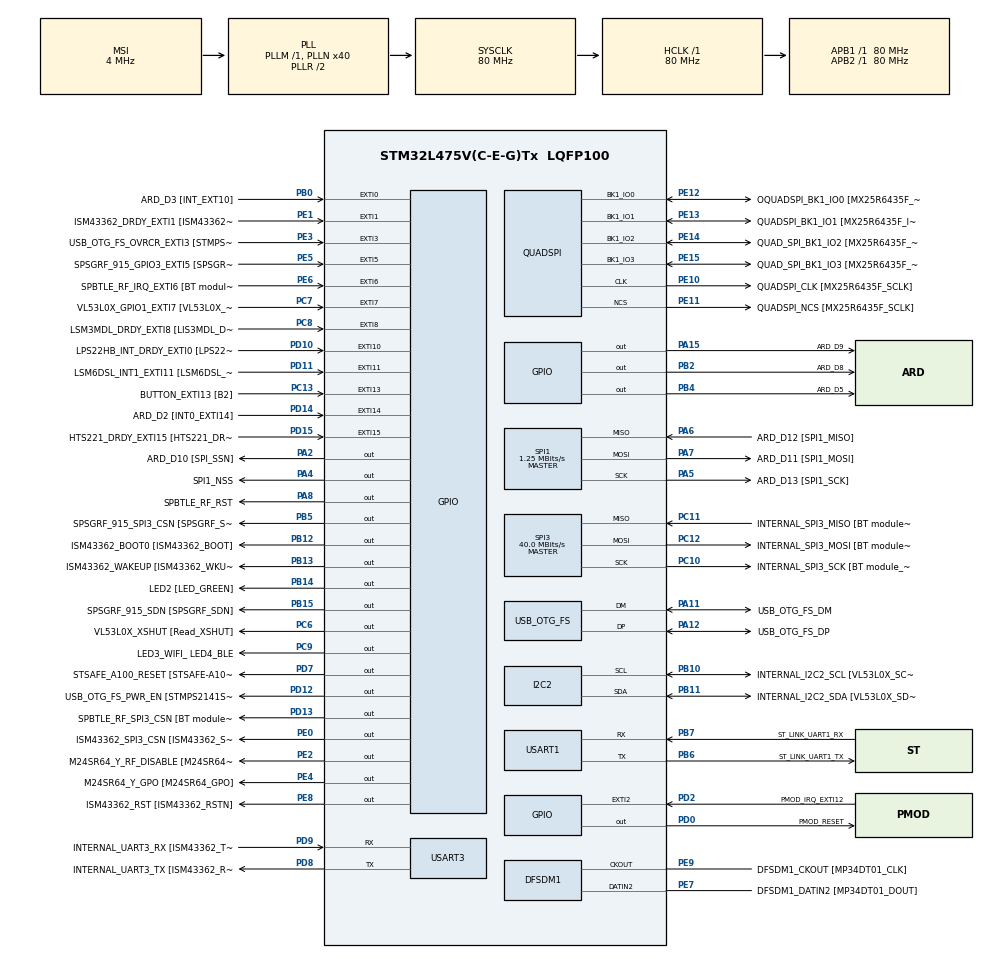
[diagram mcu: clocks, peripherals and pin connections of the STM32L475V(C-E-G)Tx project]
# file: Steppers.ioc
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Mcu.Family=STM32L4
Mcu.Name=STM32L475V(C-E-G)Tx
Mcu.Package=LQFP100
NVIC.EXTI15_10_IRQn=true\:0\:0\:false\:false\:true\:true\:true
NVIC.EXTI9_5_IRQn=true\:0\:0\:false\:false\:true\:true\:true
NVIC.PriorityGroup=NVIC_PRIORITYGROUP_4
PA0.GPIO_Label=ARD_D1 [UART4_TX]
PA0.Signal=UART4_TX
PA1.GPIO_Label=ARD_D0 [UART4_RX]
PA1.Signal=UART4_RX
PA10.GPIO_Label=USB_OTG_FS_ID
PA10.Signal=USB_OTG_FS_ID
PA11.GPIO_Label=USB_OTG_FS_DM
PA11.Mode=Device_Only
PA11.Signal=USB_OTG_FS_DM
PA12.GPIO_Label=USB_OTG_FS_DP
PA12.Mode=Device_Only
PA12.Signal=USB_OTG_FS_DP
PA13\ (JTMS-SWDIO).GPIO_Label=SYS_JTMS_SWDIO
PA13\ (JTMS-SWDIO).Mode=Serial_Wire
PA13\ (JTMS-SWDIO).Signal=SYS_JTMS-SWDIO
PA14\ (JTCK-SWCLK).GPIO_Label=SYS_JTCK_SWCLK
PA14\ (JTCK-SWCLK).Mode=Serial_Wire
PA14\ (JTCK-SWCLK).Signal=SYS_JTCK-SWCLK
PA15\ (JTDI).GPIO_Label=ARD_D9
PA15\ (JTDI).Signal=GPIO_Output
PA2.GPIO_Label=ARD_D10 [SPI_SSN]
PA2.Signal=GPIO_Output
PA3.GPIO_Label=ARD_D4
PA3.Signal=S_TIM2_CH4
PA4.GPIO_Label=SPI1_NSS
PA4.Signal=GPIO_Output
PA5.GPIO_Label=ARD_D13 [SPI1_SCK]
PA5.Mode=Full_Duplex_Master
PA5.Signal=SPI1_SCK
PA6.GPIO_Label=ARD_D12 [SPI1_MISO]
PA6.Mode=Full_Duplex_Master
PA6.Signal=SPI1_MISO
PA7.GPIO_Label=ARD_D11 [SPI1_MOSI]
PA7.Mode=Full_Duplex_Master
PA7.Signal=SPI1_MOSI
PA8.GPIO_Label=SPBTLE_RF_RST
PA8.Signal=GPIO_Output
PA9.GPIO_Label=USB_OTG_FS_VBUS [STMPS2141STR_OUT]
PA9.Signal=USB_OTG_FS_VBUS
PB0.GPIO_Label=ARD_D3 [INT_EXT10]
PB0.Signal=GPXTI0
PB1.GPIO_Label=ARD_D6 [ADC1_IN6]
PB1.Signal=ADCx_IN16
PB10.GPIO_Label=INTERNAL_I2C2_SCL [VL53L0X_SCL]
PB10.Mode=I2C
PB10.Signal=I2C2_SCL
PB11.GPIO_Label=INTERNAL_I2C2_SDA [VL53L0X_SDA]
PB11.Mode=I2C
PB11.Signal=I2C2_SDA
PB12.GPIO_Label=ISM43362_BOOT0 [ISM43362_BOOT]
PB12.Signal=GPIO_Output
PB13.GPIO_Label=ISM43362_WAKEUP [ISM43362_WKUP]
PB13.Signal=GPIO_Output
PB14.GPIO_Label=LED2 [LED_GREEN]
PB14.Signal=GPIO_Output
PB15.GPIO_Label=SPSGRF_915_SDN [SPSGRF_SDN]
PB15.Signal=GPIO_Output
PB2.GPIO_Label=ARD_D8
PB2.Signal=GPIO_Output
PB3\ (JTDO-TRACESWO).GPIO_Label=SYS_JTD0_SWO
PB3\ (JTDO-TRACESWO).Signal=SYS_JTDO-SWO
PB4\ (NJTRST).GPIO_Label=ARD_D5
PB4\ (NJTRST).Signal=GPIO_Output
PB5.GPIO_Label=SPSGRF_915_SPI3_CSN [SPSGRF_SPI_CS]
PB5.PinState=GPIO_PIN_SET
PB5.Signal=GPIO_Output
PB6.GPIO_Label=ST_LINK_UART1_TX
PB6.Mode=Asynchronous
PB6.Signal=USART1_TX
PB7.GPIO_Label=ST_LINK_UART1_RX
PB7.Mode=Asynchronous
PB7.Signal=USART1_RX
PB8.GPIO_Label=ARD_D15 [I2C1_SCL]
PB8.Signal=I2C1_SCL
PB9.GPIO_Label=ARD_D14 [I2C1_SDA]
PB9.Signal=I2C1_SDA
PC0.GPIO_Label=ARD_A5 [ADC]
PC0.Signal=ADCx_IN1
PC1.GPIO_Label=ARD_A4 [ADC]
PC1.Signal=ADCx_IN2
PC10.GPIO_Label=INTERNAL_SPI3_SCK [BT module_SPI_SCLK]
PC10.Mode=Full_Duplex_Master
PC10.Signal=SPI3_SCK
PC11.GPIO_Label=INTERNAL_SPI3_MISO [BT module_SPI_MISO]
PC11.Mode=Full_Duplex_Master
PC11.Signal=SPI3_MISO
PC12.GPIO_Label=INTERNAL_SPI3_MOSI [BT module_SPI_MOSI]
PC12.Mode=Full_Duplex_Master
PC12.Signal=SPI3_MOSI
PC13.GPIO_Label=BUTTON_EXTI13 [B2]
PC13.GPIO_ModeDefaultEXTI=GPIO_MODE_IT_FALLING
PC13.Signal=GPXTI13
PC14-OSC32_IN\ (PC14).Mode=LSE-External-Oscillator
PC14-OSC32_IN\ (PC14).Signal=RCC_OSC32_IN
PC15-OSC32_OUT\ (PC15).Mode=LSE-External-Oscillator
PC15-OSC32_OUT\ (PC15).Signal=RCC_OSC32_OUT
PC2.GPIO_Label=ARD_A3 [ADC]
PC2.Signal=ADCx_IN3
PC3.GPIO_Label=ARD_A2 [ADC]
PC3.Signal=ADCx_IN4
PC4.GPIO_Label=ARD_A1 [ADC]
PC4.Signal=ADCx_IN13
PC5.GPIO_Label=ARD_A0 [ADC]
PC5.Signal=ADCx_IN14
PC6.GPIO_Label=VL53L0X_XSHUT [Read_XSHUT]
PC6.Signal=GPIO_Output
PC7.GPIO_Label=VL53L0X_GPIO1_EXTI7 [VL53L0X_GPIO1]
PC7.Signal=GPXTI7
PC8.GPIO_Label=LSM3MDL_DRDY_EXTI8 [LIS3MDL_DRDY]
PC8.Signal=GPXTI8
PC9.GPIO_Label=LED3_WIFI_ LED4_BLE
PC9.Signal=GPIO_Output
PD0.GPIO_Label=PMOD_RESET
PD0.Signal=GPIO_Output
PD1.GPIO_Label=PMOD_SPI2_SCK
PD1.Signal=SPI2_SCK
PD10.GPIO_Label=LPS22HB_INT_DRDY_EXTI0 [LPS22HB_INT_DRDY] 
PD10.Signal=GPXTI10
PD11.GPIO_Label=LSM6DSL_INT1_EXTI11 [LSM6DSL_INT1]
PD11.Signal=GPXTI11
PD12.GPIO_Label=USB_OTG_FS_PWR_EN [STMPS2141STR_EN]
PD12.Signal=GPIO_Output
PD13.GPIO_Label=SPBTLE_RF_SPI3_CSN [BT module_SPI_CS]
PD13.PinState=GPIO_PIN_SET
PD13.Signal=GPIO_Output
PD14.GPIO_Label=ARD_D2 [INT0_EXTI14]
PD14.Signal=GPXTI14
PD15.GPIO_Label=HTS221_DRDY_EXTI15 [HTS221_DRDY]
PD15.Signal=GPXTI15
PD2.GPIO_Label=PMOD_IRQ_EXTI12
PD2.Signal=GPXTI2
PD3.GPIO_Label=PMOD_UART2_CTS
PD3.Signal=USART2_CTS
PD4.GPIO_Label=PMOD_UART2_RTS
PD4.Signal=USART2_RTS
PD5.GPIO_Label=PMOD_UART2_TX
PD5.Signal=USART2_TX
PD6.GPIO_Label=PMOD_UART2_RX
PD6.Signal=USART2_RX
PD7.GPIO_Label=STSAFE_A100_RESET [STSAFE-A100_RESET]
PD7.Signal=GPIO_Output
PD8.GPIO_Label=INTERNAL_UART3_TX [ISM43362_RX]
PD8.Mode=Asynchronous
PD8.Signal=USART3_TX
PD9.GPIO_Label=INTERNAL_UART3_RX [ISM43362_TX]
PD9.Mode=Asynchronous
PD9.Signal=USART3_RX
PE0.GPIO_Label=ISM43362_SPI3_CSN [ISM43362_SSN]
PE0.PinState=GPIO_PIN_SET
PE0.Signal=GPIO_Output
PE1.GPIO_Label=ISM43362_DRDY_EXTI1 [ISM43362_DATARDY]
PE1.Signal=GPXTI1
PE10.GPIO_Label=QUADSPI_CLK [MX25R6435F_SCLK]
PE10.Mode=Single Bank
PE10.Signal=QUADSPI_CLK
PE11.GPIO_Label=QUADSPI_NCS [MX25R6435F_SCLK]
PE11.Mode=Single Bank
PE11.Signal=QUADSPI_NCS
PE12.GPIO_Label=OQUADSPI_BK1_IO0 [MX25R6435F_IO0]
PE12.Mode=Single Bank
PE12.Signal=QUADSPI_BK1_IO0
PE13.GPIO_Label=QUADSPI_BK1_IO1 [MX25R6435F_IO1]
PE13.Mode=Single Bank
PE13.Signal=QUADSPI_BK1_IO1
PE14.GPIO_Label=QUAD_SPI_BK1_IO2 [MX25R6435F_IO2]
PE14.Mode=Single Bank
PE14.Signal=QUADSPI_BK1_IO2
PE15.GPIO_Label=QUAD_SPI_BK1_IO3 [MX25R6435F_IO3]
PE15.Mode=Single Bank
PE15.Signal=QUADSPI_BK1_IO3
PE2.GPIO_Label=M24SR64_Y_RF_DISABLE [M24SR64_RFDIS]
PE2.Signal=GPIO_Output
PE3.GPIO_Label=USB_OTG_FS_OVRCR_EXTI3 [STMPS2141STR_FAULT]
PE3.Signal=GPXTI3
PE4.GPIO_Label=M24SR64_Y_GPO [M24SR64_GPO]
PE4.Signal=GPIO_Output
PE5.GPIO_Label=SPSGRF_915_GPIO3_EXTI5 [SPSGRF_GPIO_3]
PE5.Signal=GPXTI5
PE6.GPIO_Label=SPBTLE_RF_IRQ_EXTI6 [BT module_SPI_IRQ]
PE6.Signal=GPXTI6
PE7.GPIO_Label=DFSDM1_DATIN2 [MP34DT01_DOUT]
PE7.Signal=S_DATAIN2DFSDM1
PE8.GPIO_Label=ISM43362_RST [ISM43362_RSTN]
PE8.Signal=GPIO_Output
PE9.GPIO_Label=DFSDM1_CKOUT [MP34DT01_CLK]
PE9.Signal=S_CKOUTDFSDM1
ProjectManager.HeapSize=0x200
ProjectManager.StackSize=0x400
ProjectManager.TargetToolchain=TrueSTUDIO
RCC.ADCFreq_Value=48000000
RCC.AHBFreq_Value=80000000
RCC.APB1Freq_Value=80000000
RCC.APB1TimFreq_Value=80000000
RCC.APB2Freq_Value=80000000
RCC.APB2TimFreq_Value=80000000
RCC.CortexFreq_Value=80000000
RCC.HCLKFreq_Value=80000000
RCC.HSE_VALUE=8000000
RCC.HSI_VALUE=16000000
RCC.MSI_VALUE=4000000
RCC.PLLN=40
RCC.PLLSAI1N=24
RCC.SYSCLKFreq_VALUE=80000000
RCC.SYSCLKSource=RCC_SYSCLKSOURCE_PLLCLK
RCC.USBFreq_Value=48000000
RCC.VCOOutputFreq_Value=160000000
SH.ADCx_IN1.0=ADC1_IN1
SH.ADCx_IN13.0=ADC1_IN13
SH.ADCx_IN14.0=ADC1_IN14
SH.ADCx_IN16.0=ADC1_IN16
SH.ADCx_IN2.0=ADC1_IN2
SH.ADCx_IN3.0=ADC1_IN3
SH.ADCx_IN4.0=ADC1_IN4
SH.S_CKOUTDFSDM1.0=DFSDM1_CKOUT,CKOUT
SH.S_CKOUTDFSDM1.1=DFSDM1_CKOUT,PDM_SPI_Input_from_ch12_and_Internal_Clock
SH.S_DATAIN2DFSDM1.0=DFSDM1_DATIN2,PDM_SPI_Input_from_ch12_and_Internal_Clock
SH.S_TIM2_CH4.0=TIM2_CH4
SPI1.BaudRatePrescaler=SPI_BAUDRATEPRESCALER_64
SPI1.CLKPhase=SPI_PHASE_2EDGE
SPI1.CLKPolarity=SPI_POLARITY_HIGH
SPI1.CalculateBaudRate=1.25 MBits/s
SPI1.DataSize=SPI_DATASIZE_8BIT
SPI1.Direction=SPI_DIRECTION_2LINES
SPI1.Mode=SPI_MODE_MASTER
SPI1.TIMode=SPI_TIMODE_DISABLE
SPI1.VirtualType=VM_MASTER
SPI3.CalculateBaudRate=40.0 MBits/s
SPI3.Direction=SPI_DIRECTION_2LINES
SPI3.Mode=SPI_MODE_MASTER
SPI3.VirtualType=VM_MASTER
USART1.VirtualMode-Asynchronous=VM_ASYNC
USART3.VirtualMode-Asynchronous=VM_ASYNC
USB_OTG_FS.VirtualMode=Device_Only
board=B-L475E-IOT01A

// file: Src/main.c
/* USER CODE BEGIN Header */
/**
  ******************************************************************************
  * @file           : main.c
  * @brief          : Main program body
  ******************************************************************************
  * @attention
  *
  * <h2><center>&copy; Copyright (c) 2019 STMicroelectronics.
  * All rights reserved.</center></h2>
  *
  * This software component is licensed by ST under BSD 3-Clause license,
  * the "License"; You may not use this file except in compliance with the
  * License. You may obtain a copy of the License at:
  *                        opensource.org/licenses/BSD-3-Clause
  *
  ******************************************************************************
  */
/* USER CODE END Header */

#include "main.h"

DFSDM_Channel_HandleTypeDef hdfsdm1_channel1;

I2C_HandleTypeDef hi2c2;

QSPI_HandleTypeDef hqspi;

SPI_HandleTypeDef hspi1;
SPI_HandleTypeDef hspi3;

UART_HandleTypeDef huart1;
UART_HandleTypeDef huart3;

PCD_HandleTypeDef hpcd_USB_OTG_FS;

void SystemClock_Config(void);
static void MX_GPIO_Init(void);
static void MX_DFSDM1_Init(void);
static void MX_I2C2_Init(void);
static void MX_QUADSPI_Init(void);
static void MX_SPI1_Init(void);
static void MX_SPI3_Init(void);
static void MX_USART1_UART_Init(void);
static void MX_USART3_UART_Init(void);
static void MX_USB_OTG_FS_PCD_Init(void);

int main(void)
{

  /* MCU Configuration--------------------------------------------------------*/

  /* Reset of all peripherals, Initializes the Flash interface and the Systick. */
  HAL_Init();

  /* Configure the system clock */
  SystemClock_Config();

  /* Initialize all configured peripherals */
  MX_GPIO_Init();
  MX_DFSDM1_Init();
  MX_I2C2_Init();
  MX_QUADSPI_Init();
  MX_SPI1_Init();
  MX_SPI3_Init();
  MX_USART1_UART_Init();
  MX_USART3_UART_Init();
  MX_USB_OTG_FS_PCD_Init();

  /* Infinite loop */
  /* USER CODE BEGIN WHILE */
  while (1)
  {
	  uint8_t msg1= 0x50;
	  uint8_t msg2= 0xFF;
	  uint8_t msg3= 0xFF;
	  uint8_t msg4= 0xFF;
	  uint8_t msgNOP = 0x00;
	  //uint8_t *pMsg;

	  pMsg = &msg1;
    /* USER CODE END WHILE */

    /* USER CODE BEGIN 3 */
	  HAL_GPIO_WritePin(SPI1_NSS_GPIO_Port, SPI1_NSS_Pin, GPIO_PIN_RESET);
	  HAL_SPI_Transmit(&hspi1, &msgNOP, 1, 500);
	  HAL_GPIO_WritePin(SPI1_NSS_GPIO_Port, SPI1_NSS_Pin, GPIO_PIN_SET);
	  HAL_GPIO_WritePin(SPI1_NSS_GPIO_Port, SPI1_NSS_Pin, GPIO_PIN_RESET);
	  HAL_SPI_Transmit(&hspi1, &msg1, 1, 500);
	  HAL_GPIO_WritePin(SPI1_NSS_GPIO_Port, SPI1_NSS_Pin, GPIO_PIN_SET);
	  HAL_GPIO_WritePin(SPI1_NSS_GPIO_Port, SPI1_NSS_Pin, GPIO_PIN_RESET);
	  HAL_SPI_Transmit(&hspi1, &msgNOP, 1, 500);
	  HAL_GPIO_WritePin(SPI1_NSS_GPIO_Port, SPI1_NSS_Pin, GPIO_PIN_SET);
	  HAL_GPIO_WritePin(SPI1_NSS_GPIO_Port, SPI1_NSS_Pin, GPIO_PIN_RESET);
	  HAL_SPI_Transmit(&hspi1, &msg2, 1, 500);
	  HAL_GPIO_WritePin(SPI1_NSS_GPIO_Port, SPI1_NSS_Pin, GPIO_PIN_SET);
	  HAL_GPIO_WritePin(SPI1_NSS_GPIO_Port, SPI1_NSS_Pin, GPIO_PIN_RESET);
	  HAL_SPI_Transmit(&hspi1, &msgNOP, 1, 500);
	  HAL_GPIO_WritePin(SPI1_NSS_GPIO_Port, SPI1_NSS_Pin, GPIO_PIN_SET);
	  HAL_GPIO_WritePin(SPI1_NSS_GPIO_Port, SPI1_NSS_Pin, GPIO_PIN_RESET);
	  HAL_SPI_Transmit(&hspi1, &msg3, 1, 500);
	  HAL_GPIO_WritePin(SPI1_NSS_GPIO_Port, SPI1_NSS_Pin, GPIO_PIN_SET);
	  HAL_GPIO_WritePin(SPI1_NSS_GPIO_Port, SPI1_NSS_Pin, GPIO_PIN_RESET);
	  HAL_SPI_Transmit(&hspi1, &msgNOP, 1, 500);
	  HAL_GPIO_WritePin(SPI1_NSS_GPIO_Port, SPI1_NSS_Pin, GPIO_PIN_SET);
	  HAL_GPIO_WritePin(SPI1_NSS_GPIO_Port, SPI1_NSS_Pin, GPIO_PIN_RESET);
	  HAL_SPI_Transmit(&hspi1, &msg4, 1, 500);
	  HAL_GPIO_WritePin(SPI1_NSS_GPIO_Port, SPI1_NSS_Pin, GPIO_PIN_SET);
	  HAL_Delay(100);
  }
  /* USER CODE END 3 */
}

void SystemClock_Config(void)
{
  RCC_OscInitTypeDef RCC_OscInitStruct = {0};
  RCC_ClkInitTypeDef RCC_ClkInitStruct = {0};
  RCC_PeriphCLKInitTypeDef PeriphClkInit = {0};

  /** Configure LSE Drive Capability
  */
  HAL_PWR_EnableBkUpAccess();
  __HAL_RCC_LSEDRIVE_CONFIG(RCC_LSEDRIVE_LOW);
  /** Initializes the CPU, AHB and APB busses clocks
  */
  RCC_OscInitStruct.OscillatorType = RCC_OSCILLATORTYPE_LSE|RCC_OSCILLATORTYPE_MSI;
  RCC_OscInitStruct.LSEState = RCC_LSE_ON;
  RCC_OscInitStruct.MSIState = RCC_MSI_ON;
  RCC_OscInitStruct.MSICalibrationValue = 0;
  RCC_OscInitStruct.MSIClockRange = RCC_MSIRANGE_6;
  RCC_OscInitStruct.PLL.PLLState = RCC_PLL_ON;
  RCC_OscInitStruct.PLL.PLLSource = RCC_PLLSOURCE_MSI;
  RCC_OscInitStruct.PLL.PLLM = 1;
  RCC_OscInitStruct.PLL.PLLN = 40;
  RCC_OscInitStruct.PLL.PLLP = RCC_PLLP_DIV7;
  RCC_OscInitStruct.PLL.PLLQ = RCC_PLLQ_DIV2;
  RCC_OscInitStruct.PLL.PLLR = RCC_PLLR_DIV2;
  if (HAL_RCC_OscConfig(&RCC_OscInitStruct) != HAL_OK)
  {
    Error_Handler();
  }
  /** Initializes the CPU, AHB and APB busses clocks
  */
  RCC_ClkInitStruct.ClockType = RCC_CLOCKTYPE_HCLK|RCC_CLOCKTYPE_SYSCLK
                              |RCC_CLOCKTYPE_PCLK1|RCC_CLOCKTYPE_PCLK2;
  RCC_ClkInitStruct.SYSCLKSource = RCC_SYSCLKSOURCE_PLLCLK;
  RCC_ClkInitStruct.AHBCLKDivider = RCC_SYSCLK_DIV1;
  RCC_ClkInitStruct.APB1CLKDivider = RCC_HCLK_DIV1;
  RCC_ClkInitStruct.APB2CLKDivider = RCC_HCLK_DIV1;

  if (HAL_RCC_ClockConfig(&RCC_ClkInitStruct, FLASH_LATENCY_4) != HAL_OK)
  {
    Error_Handler();
  }
  PeriphClkInit.PeriphClockSelection = RCC_PERIPHCLK_USART1|RCC_PERIPHCLK_USART3
                              |RCC_PERIPHCLK_I2C2|RCC_PERIPHCLK_DFSDM1
                              |RCC_PERIPHCLK_USB;
  PeriphClkInit.Usart1ClockSelection = RCC_USART1CLKSOURCE_PCLK2;
  PeriphClkInit.Usart3ClockSelection = RCC_USART3CLKSOURCE_PCLK1;
  PeriphClkInit.I2c2ClockSelection = RCC_I2C2CLKSOURCE_PCLK1;
  PeriphClkInit.Dfsdm1ClockSelection = RCC_DFSDM1CLKSOURCE_PCLK;
  PeriphClkInit.UsbClockSelection = RCC_USBCLKSOURCE_PLLSAI1;
  PeriphClkInit.PLLSAI1.PLLSAI1Source = RCC_PLLSOURCE_MSI;
  PeriphClkInit.PLLSAI1.PLLSAI1M = 1;
  PeriphClkInit.PLLSAI1.PLLSAI1N = 24;
  PeriphClkInit.PLLSAI1.PLLSAI1P = RCC_PLLP_DIV7;
  PeriphClkInit.PLLSAI1.PLLSAI1Q = RCC_PLLQ_DIV2;
  PeriphClkInit.PLLSAI1.PLLSAI1R = RCC_PLLR_DIV2;
  PeriphClkInit.PLLSAI1.PLLSAI1ClockOut = RCC_PLLSAI1_48M2CLK;
  if (HAL_RCCEx_PeriphCLKConfig(&PeriphClkInit) != HAL_OK)
  {
    Error_Handler();
  }
  /** Configure the main internal regulator output voltage
  */
  if (HAL_PWREx_ControlVoltageScaling(PWR_REGULATOR_VOLTAGE_SCALE1) != HAL_OK)
  {
    Error_Handler();
  }
  /** Enable MSI Auto calibration
  */
  HAL_RCCEx_EnableMSIPLLMode();
}

static void MX_DFSDM1_Init(void)
{

  hdfsdm1_channel1.Instance = DFSDM1_Channel1;
  hdfsdm1_channel1.Init.OutputClock.Activation = ENABLE;
  hdfsdm1_channel1.Init.OutputClock.Selection = DFSDM_CHANNEL_OUTPUT_CLOCK_SYSTEM;
  hdfsdm1_channel1.Init.OutputClock.Divider = 2;
  hdfsdm1_channel1.Init.Input.Multiplexer = DFSDM_CHANNEL_EXTERNAL_INPUTS;
  hdfsdm1_channel1.Init.Input.DataPacking = DFSDM_CHANNEL_STANDARD_MODE;
  hdfsdm1_channel1.Init.Input.Pins = DFSDM_CHANNEL_FOLLOWING_CHANNEL_PINS;
  hdfsdm1_channel1.Init.SerialInterface.Type = DFSDM_CHANNEL_SPI_RISING;
  hdfsdm1_channel1.Init.SerialInterface.SpiClock = DFSDM_CHANNEL_SPI_CLOCK_INTERNAL;
  hdfsdm1_channel1.Init.Awd.FilterOrder = DFSDM_CHANNEL_FASTSINC_ORDER;
  hdfsdm1_channel1.Init.Awd.Oversampling = 1;
  hdfsdm1_channel1.Init.Offset = 0;
  hdfsdm1_channel1.Init.RightBitShift = 0x00;
  if (HAL_DFSDM_ChannelInit(&hdfsdm1_channel1) != HAL_OK)
  {
    Error_Handler();
  }

}

static void MX_I2C2_Init(void)
{

  hi2c2.Instance = I2C2;
  hi2c2.Init.Timing = 0x10909CEC;
  hi2c2.Init.OwnAddress1 = 0;
  hi2c2.Init.AddressingMode = I2C_ADDRESSINGMODE_7BIT;
  hi2c2.Init.DualAddressMode = I2C_DUALADDRESS_DISABLE;
  hi2c2.Init.OwnAddress2 = 0;
  hi2c2.Init.OwnAddress2Masks = I2C_OA2_NOMASK;
  hi2c2.Init.GeneralCallMode = I2C_GENERALCALL_DISABLE;
  hi2c2.Init.NoStretchMode = I2C_NOSTRETCH_DISABLE;
  if (HAL_I2C_Init(&hi2c2) != HAL_OK)
  {
    Error_Handler();
  }
  /** Configure Analogue filter
  */
  if (HAL_I2CEx_ConfigAnalogFilter(&hi2c2, I2C_ANALOGFILTER_ENABLE) != HAL_OK)
  {
    Error_Handler();
  }
  /** Configure Digital filter
  */
  if (HAL_I2CEx_ConfigDigitalFilter(&hi2c2, 0) != HAL_OK)
  {
    Error_Handler();
  }

}

static void MX_QUADSPI_Init(void)
{

  /* QUADSPI parameter configuration*/
  hqspi.Instance = QUADSPI;
  hqspi.Init.ClockPrescaler = 255;
  hqspi.Init.FifoThreshold = 1;
  hqspi.Init.SampleShifting = QSPI_SAMPLE_SHIFTING_NONE;
  hqspi.Init.FlashSize = 1;
  hqspi.Init.ChipSelectHighTime = QSPI_CS_HIGH_TIME_1_CYCLE;
  hqspi.Init.ClockMode = QSPI_CLOCK_MODE_0;
  if (HAL_QSPI_Init(&hqspi) != HAL_OK)
  {
    Error_Handler();
  }

}

static void MX_SPI1_Init(void)
{

  /* SPI1 parameter configuration*/
  hspi1.Instance = SPI1;
  hspi1.Init.Mode = SPI_MODE_MASTER;
  hspi1.Init.Direction = SPI_DIRECTION_2LINES;
  hspi1.Init.DataSize = SPI_DATASIZE_8BIT;
  hspi1.Init.CLKPolarity = SPI_POLARITY_HIGH;
  hspi1.Init.CLKPhase = SPI_PHASE_2EDGE;
  hspi1.Init.NSS = SPI_NSS_SOFT;
  hspi1.Init.BaudRatePrescaler = SPI_BAUDRATEPRESCALER_64;
  hspi1.Init.FirstBit = SPI_FIRSTBIT_MSB;
  hspi1.Init.TIMode = SPI_TIMODE_DISABLE;
  hspi1.Init.CRCCalculation = SPI_CRCCALCULATION_DISABLE;
  hspi1.Init.CRCPolynomial = 7;
  hspi1.Init.CRCLength = SPI_CRC_LENGTH_DATASIZE;
  hspi1.Init.NSSPMode = SPI_NSS_PULSE_DISABLE;
  if (HAL_SPI_Init(&hspi1) != HAL_OK)
  {
    Error_Handler();
  }

}

static void MX_SPI3_Init(void)
{

  /* SPI3 parameter configuration*/
  hspi3.Instance = SPI3;
  hspi3.Init.Mode = SPI_MODE_MASTER;
  hspi3.Init.Direction = SPI_DIRECTION_2LINES;
  hspi3.Init.DataSize = SPI_DATASIZE_4BIT;
  hspi3.Init.CLKPolarity = SPI_POLARITY_LOW;
  hspi3.Init.CLKPhase = SPI_PHASE_1EDGE;
  hspi3.Init.NSS = SPI_NSS_SOFT;
  hspi3.Init.BaudRatePrescaler = SPI_BAUDRATEPRESCALER_2;
  hspi3.Init.FirstBit = SPI_FIRSTBIT_MSB;
  hspi3.Init.TIMode = SPI_TIMODE_DISABLE;
  hspi3.Init.CRCCalculation = SPI_CRCCALCULATION_DISABLE;
  hspi3.Init.CRCPolynomial = 7;
  hspi3.Init.CRCLength = SPI_CRC_LENGTH_DATASIZE;
  hspi3.Init.NSSPMode = SPI_NSS_PULSE_ENABLE;
  if (HAL_SPI_Init(&hspi3) != HAL_OK)
  {
    Error_Handler();
  }

}

static void MX_USART1_UART_Init(void)
{

  huart1.Instance = USART1;
  huart1.Init.BaudRate = 115200;
  huart1.Init.WordLength = UART_WORDLENGTH_8B;
  huart1.Init.StopBits = UART_STOPBITS_1;
  huart1.Init.Parity = UART_PARITY_NONE;
  huart1.Init.Mode = UART_MODE_TX_RX;
  huart1.Init.HwFlowCtl = UART_HWCONTROL_NONE;
  huart1.Init.OverSampling = UART_OVERSAMPLING_16;
  huart1.Init.OneBitSampling = UART_ONE_BIT_SAMPLE_DISABLE;
  huart1.AdvancedInit.AdvFeatureInit = UART_ADVFEATURE_NO_INIT;
  if (HAL_UART_Init(&huart1) != HAL_OK)
  {
    Error_Handler();
  }

}

static void MX_USART3_UART_Init(void)
{

  huart3.Instance = USART3;
  huart3.Init.BaudRate = 115200;
  huart3.Init.WordLength = UART_WORDLENGTH_8B;
  huart3.Init.StopBits = UART_STOPBITS_1;
  huart3.Init.Parity = UART_PARITY_NONE;
  huart3.Init.Mode = UART_MODE_TX_RX;
  huart3.Init.HwFlowCtl = UART_HWCONTROL_NONE;
  huart3.Init.OverSampling = UART_OVERSAMPLING_16;
  huart3.Init.OneBitSampling = UART_ONE_BIT_SAMPLE_DISABLE;
  huart3.AdvancedInit.AdvFeatureInit = UART_ADVFEATURE_NO_INIT;
  if (HAL_UART_Init(&huart3) != HAL_OK)
  {
    Error_Handler();
  }

}

static void MX_USB_OTG_FS_PCD_Init(void)
{

  hpcd_USB_OTG_FS.Instance = USB_OTG_FS;
  hpcd_USB_OTG_FS.Init.dev_endpoints = 6;
  hpcd_USB_OTG_FS.Init.speed = PCD_SPEED_FULL;
  hpcd_USB_OTG_FS.Init.phy_itface = PCD_PHY_EMBEDDED;
  hpcd_USB_OTG_FS.Init.Sof_enable = DISABLE;
  hpcd_USB_OTG_FS.Init.low_power_enable = DISABLE;
  hpcd_USB_OTG_FS.Init.lpm_enable = DISABLE;
  hpcd_USB_OTG_FS.Init.battery_charging_enable = DISABLE;
  hpcd_USB_OTG_FS.Init.use_dedicated_ep1 = DISABLE;
  hpcd_USB_OTG_FS.Init.vbus_sensing_enable = DISABLE;
  if (HAL_PCD_Init(&hpcd_USB_OTG_FS) != HAL_OK)
  {
    Error_Handler();
  }

}

static void MX_GPIO_Init(void)
{
  GPIO_InitTypeDef GPIO_InitStruct = {0};

  /* GPIO Ports Clock Enable */
  __HAL_RCC_GPIOE_CLK_ENABLE();
  __HAL_RCC_GPIOC_CLK_ENABLE();
  __HAL_RCC_GPIOA_CLK_ENABLE();
  __HAL_RCC_GPIOB_CLK_ENABLE();
  __HAL_RCC_GPIOD_CLK_ENABLE();

  /*Configure GPIO pin Output Level */
  HAL_GPIO_WritePin(GPIOE, M24SR64_Y_RF_DISABLE_Pin|M24SR64_Y_GPO_Pin|ISM43362_RST_Pin, GPIO_PIN_RESET);

  /*Configure GPIO pin Output Level */
  HAL_GPIO_WritePin(GPIOA, ARD_D10_Pin|SPI1_NSS_Pin|SPBTLE_RF_RST_Pin|ARD_D9_Pin, GPIO_PIN_RESET);

  /*Configure GPIO pin Output Level */
  HAL_GPIO_WritePin(GPIOB, ARD_D8_Pin|ISM43362_BOOT0_Pin|ISM43362_WAKEUP_Pin|LED2_Pin
                          |SPSGRF_915_SDN_Pin|ARD_D5_Pin, GPIO_PIN_RESET);

  /*Configure GPIO pin Output Level */
  HAL_GPIO_WritePin(GPIOD, USB_OTG_FS_PWR_EN_Pin|PMOD_RESET_Pin|STSAFE_A100_RESET_Pin, GPIO_PIN_RESET);

  /*Configure GPIO pin Output Level */
  HAL_GPIO_WritePin(SPBTLE_RF_SPI3_CSN_GPIO_Port, SPBTLE_RF_SPI3_CSN_Pin, GPIO_PIN_SET);

  /*Configure GPIO pin Output Level */
  HAL_GPIO_WritePin(GPIOC, VL53L0X_XSHUT_Pin|LED3_WIFI__LED4_BLE_Pin, GPIO_PIN_RESET);

  /*Configure GPIO pin Output Level */
  HAL_GPIO_WritePin(SPSGRF_915_SPI3_CSN_GPIO_Port, SPSGRF_915_SPI3_CSN_Pin, GPIO_PIN_SET);

  /*Configure GPIO pin Output Level */
  HAL_GPIO_WritePin(ISM43362_SPI3_CSN_GPIO_Port, ISM43362_SPI3_CSN_Pin, GPIO_PIN_SET);

  /*Configure GPIO pins : M24SR64_Y_RF_DISABLE_Pin M24SR64_Y_GPO_Pin ISM43362_RST_Pin ISM43362_SPI3_CSN_Pin */
  GPIO_InitStruct.Pin = M24SR64_Y_RF_DISABLE_Pin|M24SR64_Y_GPO_Pin|ISM43362_RST_Pin|ISM43362_SPI3_CSN_Pin;
  GPIO_InitStruct.Mode = GPIO_MODE_OUTPUT_PP;
  GPIO_InitStruct.Pull = GPIO_NOPULL;
  GPIO_InitStruct.Speed = GPIO_SPEED_FREQ_LOW;
  HAL_GPIO_Init(GPIOE, &GPIO_InitStruct);

  /*Configure GPIO pins : USB_OTG_FS_OVRCR_EXTI3_Pin SPSGRF_915_GPIO3_EXTI5_Pin SPBTLE_RF_IRQ_EXTI6_Pin ISM43362_DRDY_EXTI1_Pin */
  GPIO_InitStruct.Pin = USB_OTG_FS_OVRCR_EXTI3_Pin|SPSGRF_915_GPIO3_EXTI5_Pin|SPBTLE_RF_IRQ_EXTI6_Pin|ISM43362_DRDY_EXTI1_Pin;
  GPIO_InitStruct.Mode = GPIO_MODE_IT_RISING;
  GPIO_InitStruct.Pull = GPIO_NOPULL;
  HAL_GPIO_Init(GPIOE, &GPIO_InitStruct);

  /*Configure GPIO pin : BUTTON_EXTI13_Pin */
  GPIO_InitStruct.Pin = BUTTON_EXTI13_Pin;
  GPIO_InitStruct.Mode = GPIO_MODE_IT_FALLING;
  GPIO_InitStruct.Pull = GPIO_NOPULL;
  HAL_GPIO_Init(BUTTON_EXTI13_GPIO_Port, &GPIO_InitStruct);

  /*Configure GPIO pins : ARD_A5_Pin ARD_A4_Pin ARD_A3_Pin ARD_A2_Pin
                           ARD_A1_Pin ARD_A0_Pin */
  GPIO_InitStruct.Pin = ARD_A5_Pin|ARD_A4_Pin|ARD_A3_Pin|ARD_A2_Pin
                          |ARD_A1_Pin|ARD_A0_Pin;
  GPIO_InitStruct.Mode = GPIO_MODE_ANALOG_ADC_CONTROL;
  GPIO_InitStruct.Pull = GPIO_NOPULL;
  HAL_GPIO_Init(GPIOC, &GPIO_InitStruct);

  /*Configure GPIO pins : ARD_D1_Pin ARD_D0_Pin */
  GPIO_InitStruct.Pin = ARD_D1_Pin|ARD_D0_Pin;
  GPIO_InitStruct.Mode = GPIO_MODE_AF_PP;
  GPIO_InitStruct.Pull = GPIO_NOPULL;
  GPIO_InitStruct.Speed = GPIO_SPEED_FREQ_VERY_HIGH;
  GPIO_InitStruct.Alternate = GPIO_AF8_UART4;
  HAL_GPIO_Init(GPIOA, &GPIO_InitStruct);

  /*Configure GPIO pins : ARD_D10_Pin SPI1_NSS_Pin SPBTLE_RF_RST_Pin ARD_D9_Pin */
  GPIO_InitStruct.Pin = ARD_D10_Pin|SPI1_NSS_Pin|SPBTLE_RF_RST_Pin|ARD_D9_Pin;
  GPIO_InitStruct.Mode = GPIO_MODE_OUTPUT_PP;
  GPIO_InitStruct.Pull = GPIO_NOPULL;
  GPIO_InitStruct.Speed = GPIO_SPEED_FREQ_LOW;
  HAL_GPIO_Init(GPIOA, &GPIO_InitStruct);

  /*Configure GPIO pin : ARD_D4_Pin */
  GPIO_InitStruct.Pin = ARD_D4_Pin;
  GPIO_InitStruct.Mode = GPIO_MODE_AF_PP;
  GPIO_InitStruct.Pull = GPIO_NOPULL;
  GPIO_InitStruct.Speed = GPIO_SPEED_FREQ_LOW;
  GPIO_InitStruct.Alternate = GPIO_AF1_TIM2;
  HAL_GPIO_Init(ARD_D4_GPIO_Port, &GPIO_InitStruct);

  /*Configure GPIO pin : ARD_D3_Pin */
  GPIO_InitStruct.Pin = ARD_D3_Pin;
  GPIO_InitStruct.Mode = GPIO_MODE_IT_RISING;
  GPIO_InitStruct.Pull = GPIO_NOPULL;
  HAL_GPIO_Init(ARD_D3_GPIO_Port, &GPIO_InitStruct);

  /*Configure GPIO pin : ARD_D6_Pin */
  GPIO_InitStruct.Pin = ARD_D6_Pin;
  GPIO_InitStruct.Mode = GPIO_MODE_ANALOG_ADC_CONTROL;
  GPIO_InitStruct.Pull = GPIO_NOPULL;
  HAL_GPIO_Init(ARD_D6_GPIO_Port, &GPIO_InitStruct);

  /*Configure GPIO pins : ARD_D8_Pin ISM43362_BOOT0_Pin ISM43362_WAKEUP_Pin LED2_Pin
                           SPSGRF_915_SDN_Pin ARD_D5_Pin SPSGRF_915_SPI3_CSN_Pin */
  GPIO_InitStruct.Pin = ARD_D8_Pin|ISM43362_BOOT0_Pin|ISM43362_WAKEUP_Pin|LED2_Pin
                          |SPSGRF_915_SDN_Pin|ARD_D5_Pin|SPSGRF_915_SPI3_CSN_Pin;
  GPIO_InitStruct.Mode = GPIO_MODE_OUTPUT_PP;
  GPIO_InitStruct.Pull = GPIO_NOPULL;
  GPIO_InitStruct.Speed = GPIO_SPEED_FREQ_LOW;
  HAL_GPIO_Init(GPIOB, &GPIO_InitStruct);

  /*Configure GPIO pins : LPS22HB_INT_DRDY_EXTI0_Pin LSM6DSL_INT1_EXTI11_Pin ARD_D2_Pin HTS221_DRDY_EXTI15_Pin
                           PMOD_IRQ_EXTI12_Pin */
  GPIO_InitStruct.Pin = LPS22HB_INT_DRDY_EXTI0_Pin|LSM6DSL_INT1_EXTI11_Pin|ARD_D2_Pin|HTS221_DRDY_EXTI15_Pin
                          |PMOD_IRQ_EXTI12_Pin;
  GPIO_InitStruct.Mode = GPIO_MODE_IT_RISING;
  GPIO_InitStruct.Pull = GPIO_NOPULL;
  HAL_GPIO_Init(GPIOD, &GPIO_InitStruct);

  /*Configure GPIO pins : USB_OTG_FS_PWR_EN_Pin SPBTLE_RF_SPI3_CSN_Pin PMOD_RESET_Pin STSAFE_A100_RESET_Pin */
  GPIO_InitStruct.Pin = USB_OTG_FS_PWR_EN_Pin|SPBTLE_RF_SPI3_CSN_Pin|PMOD_RESET_Pin|STSAFE_A100_RESET_Pin;
  GPIO_InitStruct.Mode = GPIO_MODE_OUTPUT_PP;
  GPIO_InitStruct.Pull = GPIO_NOPULL;
  GPIO_InitStruct.Speed = GPIO_SPEED_FREQ_LOW;
  HAL_GPIO_Init(GPIOD, &GPIO_InitStruct);

  /*Configure GPIO pins : VL53L0X_XSHUT_Pin LED3_WIFI__LED4_BLE_Pin */
  GPIO_InitStruct.Pin = VL53L0X_XSHUT_Pin|LED3_WIFI__LED4_BLE_Pin;
  GPIO_InitStruct.Mode = GPIO_MODE_OUTPUT_PP;
  GPIO_InitStruct.Pull = GPIO_NOPULL;
  GPIO_InitStruct.Speed = GPIO_SPEED_FREQ_LOW;
  HAL_GPIO_Init(GPIOC, &GPIO_InitStruct);

  /*Configure GPIO pins : VL53L0X_GPIO1_EXTI7_Pin LSM3MDL_DRDY_EXTI8_Pin */
  GPIO_InitStruct.Pin = VL53L0X_GPIO1_EXTI7_Pin|LSM3MDL_DRDY_EXTI8_Pin;
  GPIO_InitStruct.Mode = GPIO_MODE_IT_RISING;
  GPIO_InitStruct.Pull = GPIO_NOPULL;
  HAL_GPIO_Init(GPIOC, &GPIO_InitStruct);

  /*Configure GPIO pin : PMOD_SPI2_SCK_Pin */
  GPIO_InitStruct.Pin = PMOD_SPI2_SCK_Pin;
  GPIO_InitStruct.Mode = GPIO_MODE_AF_PP;
  GPIO_InitStruct.Pull = GPIO_NOPULL;
  GPIO_InitStruct.Speed = GPIO_SPEED_FREQ_VERY_HIGH;
  GPIO_InitStruct.Alternate = GPIO_AF5_SPI2;
  HAL_GPIO_Init(PMOD_SPI2_SCK_GPIO_Port, &GPIO_InitStruct);

  /*Configure GPIO pins : PMOD_UART2_CTS_Pin PMOD_UART2_RTS_Pin PMOD_UART2_TX_Pin PMOD_UART2_RX_Pin */
  GPIO_InitStruct.Pin = PMOD_UART2_CTS_Pin|PMOD_UART2_RTS_Pin|PMOD_UART2_TX_Pin|PMOD_UART2_RX_Pin;
  GPIO_InitStruct.Mode = GPIO_MODE_AF_PP;
  GPIO_InitStruct.Pull = GPIO_NOPULL;
  GPIO_InitStruct.Speed = GPIO_SPEED_FREQ_VERY_HIGH;
  GPIO_InitStruct.Alternate = GPIO_AF7_USART2;
  HAL_GPIO_Init(GPIOD, &GPIO_InitStruct);

  /*Configure GPIO pins : ARD_D15_Pin ARD_D14_Pin */
  GPIO_InitStruct.Pin = ARD_D15_Pin|ARD_D14_Pin;
  GPIO_InitStruct.Mode = GPIO_MODE_AF_OD;
  GPIO_InitStruct.Pull = GPIO_PULLUP;
  GPIO_InitStruct.Speed = GPIO_SPEED_FREQ_VERY_HIGH;
  GPIO_InitStruct.Alternate = GPIO_AF4_I2C1;
  HAL_GPIO_Init(GPIOB, &GPIO_InitStruct);

  /* EXTI interrupt init*/
  HAL_NVIC_SetPriority(EXTI9_5_IRQn, 0, 0);
  HAL_NVIC_EnableIRQ(EXTI9_5_IRQn);

  HAL_NVIC_SetPriority(EXTI15_10_IRQn, 0, 0);
  HAL_NVIC_EnableIRQ(EXTI15_10_IRQn);

}

void Error_Handler(void)
{
}

/************************ (C) COPYRIGHT STMicroelectronics *****END OF FILE****/
